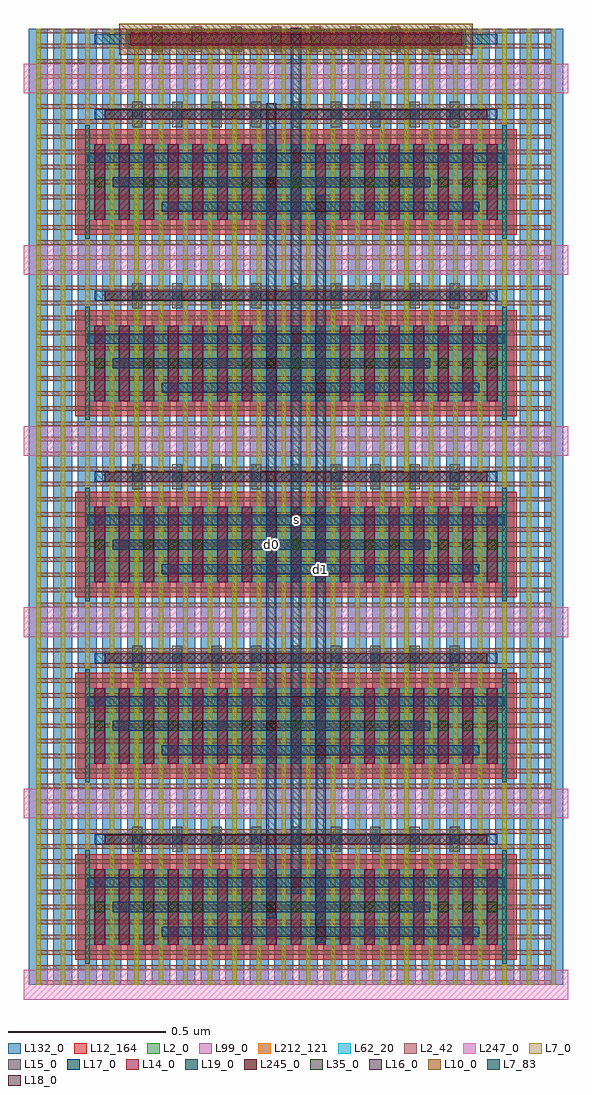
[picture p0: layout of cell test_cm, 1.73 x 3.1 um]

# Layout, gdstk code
import gdstk
lib = gdstk.Library(unit=1e-6, precision=1e-12)
def R(c, l, rs):  # rectangles x0, y0, x1, y1
    for r in rs: c.add(gdstk.rectangle(r[:2], r[2:], *l))
def A(c, l, x, y, w, h, nx, ny, dx, dy):  # array of equal rectangles
    R(c, l, [(x+i*dx, y+j*dy, x+i*dx+w, y+j*dy+h) for i in range(nx) for j in range(ny)])
L2_0 = (2, 0)
L2_42 = (2, 42)
L7_0 = (7, 0)
L7_83 = (7, 83)
L10_0 = (10, 0)
L12_164 = (12, 164)
L14_0 = (14, 0)
L15_0 = (15, 0)
L16_0 = (16, 0)
L17_0 = (17, 0)
L18_0 = (18, 0)
L19_0 = (19, 0)
L35_0 = (35, 0)
L62_20 = (62, 20)
L99_0 = (99, 0)
L132_0 = (132, 0)
L212_121 = (212, 121)
L245_0 = (245, 0)
L247_0 = (247, 0)

test_cm = lib.new_cell('test_cm')
A(test_cm, L2_0, 0.186, 0.127, 1.326, 0.24, 1, 5, 0, 0.576)
R(test_cm, L2_0, [(0.3074,2.975,1.3906,3.035)])
A(test_cm, L2_42, 0.023, 0, 1.638, 0.014, 1, 64, 0, 0.048)
A(test_cm, L7_0, 0.023, 0, 0.014, 3.038, 22, 1, 0.078, 0)
A(test_cm, L7_83, 0.179, 0.067, 0.014, 0.36, 1, 5, 0, 0.576)
A(test_cm, L7_83, 1.505, 0.067, 0.014, 0.36, 1, 5, 0, 0.576)
R(test_cm, L10_0, [(0.2874,2.955,1.4106,3.055)])
A(test_cm, L12_164, 0.147, 0.079, 1.404, 0.336, 1, 5, 0, 0.576)
A(test_cm, L14_0, 0.208, 0.127, 0.034, 0.24, 17, 5, 0.078, 0.576)
R(test_cm, L14_0, [(0.3224,2.985,1.3756,3.025)])
A(test_cm, L15_0, 0.209, 0.127, 0.032, 0.24, 17, 5, 0.078, 0.576)
A(test_cm, L15_0, 0.329, 0.422, 0.032, 0.08, 9, 5, 0.126, 0.576)
A(test_cm, L15_0, 0.392, 2.965, 0.032, 0.08, 8, 1, 0.126, 0)
A(test_cm, L16_0, 0.443, 0.153, 0.032, 0.032, 4, 5, 0.312, 0.576)
A(test_cm, L16_0, 0.287, 0.231, 0.032, 0.032, 4, 5, 0.312, 0.576)
A(test_cm, L16_0, 0.209, 0.309, 0.032, 0.032, 9, 5, 0.156, 0.576)
A(test_cm, L16_0, 0.329, 0.446, 0.032, 0.032, 9, 5, 0.126, 0.576)
A(test_cm, L16_0, 0.392, 2.989, 0.032, 0.032, 8, 1, 0.126, 0)
A(test_cm, L17_0, 0.423, 0.153, 1.008, 0.032, 1, 5, 0, 0.576)
A(test_cm, L17_0, 0.267, 0.231, 1.008, 0.032, 1, 5, 0, 0.576)
A(test_cm, L17_0, 0.186, 0.309, 1.326, 0.032, 1, 5, 0, 0.576)
A(test_cm, L17_0, 0.209, 0.446, 1.28, 0.032, 1, 5, 0, 0.576)
R(test_cm, L17_0, [(0.209,2.989,1.489,3.021)])
A(test_cm, L18_0, 0.911, 0.153, 0.032, 0.032, 1, 5, 0, 0.576)
A(test_cm, L18_0, 0.833, 0.309, 0.032, 0.032, 1, 5, 0, 0.576)
R(test_cm, L18_0, [(0.755,0.231,0.787,0.263), (0.755,0.446,0.787,0.478), (0.755,0.807,0.787,0.839), (0.755,1.022,0.787,1.054), (0.755,1.383,0.787,1.415), (0.755,1.598,0.787,1.63), (0.755,1.959,0.787,1.991), (0.755,2.174,0.787,2.206), (0.755,2.535,0.787,2.567), (0.755,2.75,0.787,2.782), (0.833,2.989,0.865,3.021)])
R(test_cm, L19_0, [(0.911,0.133,0.943,2.509), (0.755,0.211,0.787,2.802), (0.833,0.289,0.865,3.041)])
A(test_cm, L35_0, 0.209, 0.231, 0.032, 0.032, 17, 5, 0.078, 0.576)
A(test_cm, L35_0, 0.329, 0.446, 0.032, 0.032, 9, 5, 0.126, 0.576)
A(test_cm, L35_0, 0.392, 2.989, 0.032, 0.032, 8, 1, 0.126, 0)
A(test_cm, L62_20, 0.186, 0.127, 1.326, 0.24, 1, 5, 0, 0.576)
A(test_cm, L99_0, 0.186, 0.127, 1.326, 0.24, 1, 5, 0, 0.576)
R(test_cm, L99_0, [(0.3174,2.98,1.3806,3.03)])
A(test_cm, L132_0, 0, 0, 0.06, 3.038, 22, 1, 0.078, 0)
A(test_cm, L212_121, 0.186, 0.127, 1.326, 0.24, 1, 5, 0, 0.576)
A(test_cm, L245_0, 0.241, 0.447, 1.216, 0.03, 1, 5, 0, 0.576)
A(test_cm, L247_0, -0.016, -0.047, 1.73, 0.094, 1, 6, 0, 0.576)
test_cm.add(gdstk.Label('s', (0.849,1.477), layer=16, texttype=20))
test_cm.add(gdstk.Label('d1', (0.927,1.321), layer=16, texttype=20))
test_cm.add(gdstk.Label('d0', (0.771,1.399), layer=16, texttype=20))

lib.write_gds('test_cm.gds')
